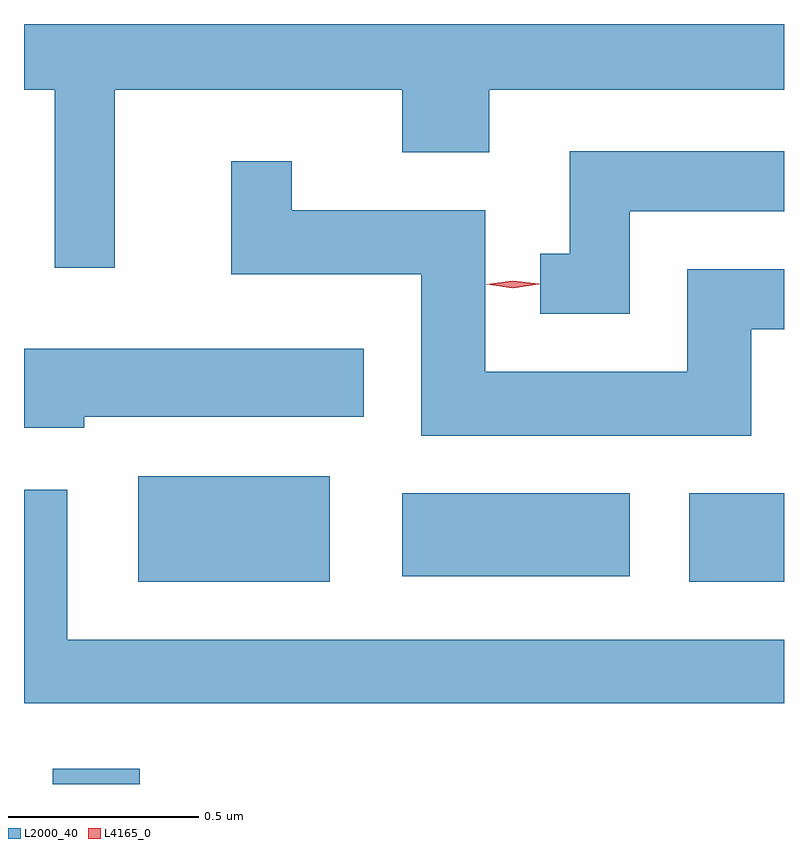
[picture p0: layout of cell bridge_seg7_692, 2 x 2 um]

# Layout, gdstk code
import gdstk
lib = gdstk.Library(unit=1e-6, precision=1e-09)
def R(c, l, rs):  # rectangles x0, y0, x1, y1
    for r in rs: c.add(gdstk.rectangle(r[:2], r[2:], *l))
def P(c, l, *ps):  # polygons
    for p in ps: c.add(gdstk.Polygon(p, *l))
L2000_40 = (2000, 40)
L4165_0 = (4165, 0)

bridge_seg7_692 = lib.new_cell('bridge_seg7_692')
R(bridge_seg7_692, L2000_40, [(969.871,1721.369,970.099,1721.409), (970.096,1721.901,970.599,1722.179), (971.546,1721.901,971.795,1722.134), (970.791,1721.916,971.389,1722.134)])
P(bridge_seg7_692, L2000_40, [(970.034,1723.196),(970.791,1723.196),(970.791,1723.031),(971.019,1723.031),(971.019,1723.196),(971.795,1723.196),(971.795,1723.369),(969.795,1723.369),(969.795,1723.196),(969.876,1723.196),(969.876,1722.728),(970.034,1722.728)],
  [(971.389,1722.876),(971.795,1722.876),(971.795,1723.034),(971.231,1723.034),(971.231,1722.764),(971.153,1722.764),(971.153,1722.606),(971.389,1722.606)],
  [(971.709,1722.566),(971.795,1722.566),(971.795,1722.724),(971.541,1722.724),(971.541,1722.454),(971.009,1722.454),(971.009,1722.879),(970.499,1722.879),(970.499,1723.008),(970.341,1723.008),(970.341,1722.711),(970.841,1722.711),(970.841,1722.286),(971.709,1722.286)],
  [(969.954,1722.336),(970.689,1722.336),(970.689,1722.514),(969.795,1722.514),(969.795,1722.306),(969.954,1722.306)],
  [(971.795,1721.749),(969.909,1721.749),(969.909,1722.144),(969.795,1722.144),(969.795,1721.581),(971.795,1721.581)])
P(bridge_seg7_692, L4165_0, [(971.081,1722.674),(971.012,1722.684),(971.012,1722.684),(971.012,1722.684),(971.081,1722.694),(971.151,1722.685),(971.151,1722.685),(971.151,1722.684)])

lib.write_gds('bridge_seg7_692.gds')
